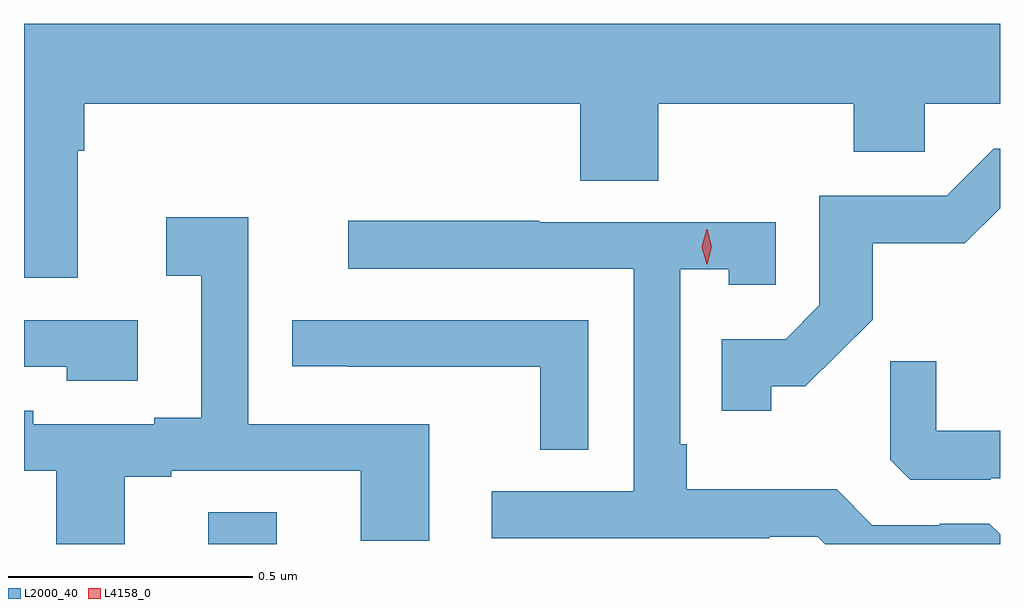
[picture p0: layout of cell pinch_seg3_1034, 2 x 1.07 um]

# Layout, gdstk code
import gdstk
lib = gdstk.Library(unit=1e-6, precision=1e-09)
def R(c, l, rs):  # rectangles x0, y0, x1, y1
    for r in rs: c.add(gdstk.rectangle(r[:2], r[2:], *l))
def P(c, l, *ps):  # polygons
    for p in ps: c.add(gdstk.Polygon(p, *l))
L2000_40 = (2000, 40)
L4158_0 = (4158, 0)

pinch_seg3_1034 = lib.new_cell('pinch_seg3_1034')
R(pinch_seg3_1034, L2000_40, [(481.277,680.034,481.417,680.099)])
P(pinch_seg3_1034, L2000_40, [(481.009,680.84),(481.022,680.84),(481.022,680.936),(482.039,680.936),(482.039,680.779),(482.199,680.779),(482.199,680.936),(482.599,680.936),(482.599,680.838),(482.745,680.838),(482.745,680.936),(482.899,680.936),(482.899,681.1),(480.899,681.1),(480.899,680.58),(481.009,680.58)],
  [(482.43,680.357),(482.5,680.357),(482.638,680.494),(482.638,680.65),(482.827,680.65),(482.899,680.722),(482.899,680.844),(482.886,680.844),(482.79,680.748),(482.529,680.748),(482.529,680.523),(482.46,680.454),(482.329,680.454),(482.329,680.307),(482.43,680.307)],
  [(481.105,680.172),(481.201,680.172),(481.201,680.184),(481.589,680.184),(481.589,680.041),(481.729,680.041),(481.729,680.28),(481.359,680.28),(481.359,680.704),(481.191,680.704),(481.191,680.584),(481.262,680.584),(481.262,680.293),(481.166,680.293),(481.166,680.28),(480.918,680.28),(480.918,680.307),(480.899,680.307),(480.899,680.184),(480.965,680.184),(480.965,680.034),(481.105,680.034)],
  [(482.899,680.054),(482.877,680.076),(482.776,680.076),(482.776,680.073),(482.637,680.073),(482.564,680.146),(482.257,680.146),(482.257,680.239),(482.244,680.239),(482.244,680.597),(482.343,680.597),(482.343,680.565),(482.439,680.565),(482.439,680.694),(481.955,680.694),(481.955,680.697),(481.563,680.697),(481.563,680.598),(482.148,680.598),(482.148,680.142),(481.857,680.142),(481.857,680.046),(482.426,680.046),(482.426,680.049),(482.526,680.049),(482.541,680.034),(482.899,680.034)],
  [(481.132,680.493),(480.899,680.493),(480.899,680.397),(480.987,680.397),(480.987,680.369),(481.132,680.369)],
  [(482.055,680.493),(481.449,680.493),(481.449,680.398),(481.561,680.398),(481.561,680.397),(481.957,680.397),(481.957,680.227),(482.055,680.227)],
  [(482.88,680.169),(482.899,680.169),(482.899,680.266),(482.768,680.266),(482.768,680.409),(482.674,680.409),(482.674,680.207),(482.715,680.166),(482.88,680.166)])
P(pinch_seg3_1034, L4158_0, [(482.298,680.607),(482.298,680.607),(482.288,680.643),(482.298,680.679),(482.298,680.679),(482.299,680.679),(482.308,680.643),(482.299,680.607)])

lib.write_gds('pinch_seg3_1034.gds')
